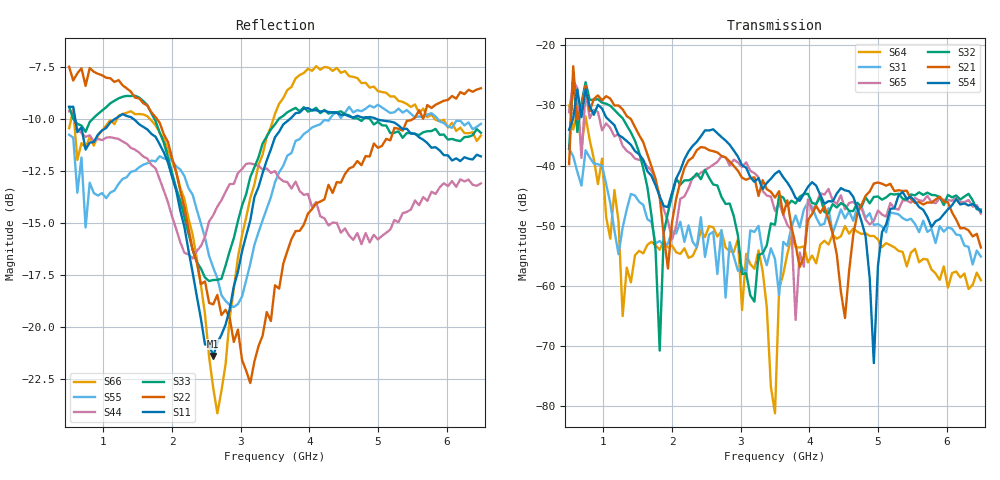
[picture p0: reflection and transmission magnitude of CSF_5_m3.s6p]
!Keysight Technologies,M9804A,MY58100912,A.14.10.03
!Date: Thursday, April 27, 2023 10:28:33
!Correction: S11(C  6-Port  )
!S12(C  6-Port  )
!S13(C  6-Port  )
!S14(C  6-Port  )
!S15(C  6-Port  )
!S16(C  6-Port  )
!S21(C  6-Port  )
!S22(C  6-Port  )
!S23(C  6-Port  )
!S24(C  6-Port  )
!S25(C  6-Port  )
!S26(C  6-Port  )
!S31(C  6-Port  )
!S32(C  6-Port  )
!S33(C  6-Port  )
!S34(C  6-Port  )
!S35(C  6-Port  )
!S36(C  6-Port  )
!S41(C  6-Port  )
!S42(C  6-Port  )
!S43(C  6-Port  )
!S44(C  6-Port  )
!S45(C  6-Port  )
!S46(C  6-Port  )
!S51(C  6-Port  )
!S52(C  6-Port  )
!S53(C  6-Port  )
!S54(C  6-Port  )
!S55(C  6-Port  )
!S56(C  6-Port  )
!S61(C  6-Port  )
!S62(C  6-Port  )
!S63(C  6-Port  )
!S64(C  6-Port  )
!S65(C  6-Port  )
!S66(C  6-Port  )
!S6P File: Measurement: :
# Hz S  RI  R 50
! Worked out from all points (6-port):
!   101 points, 500 MHz to 6.5 GHz, reference 50 ohm
!   strongest paths, dB at 500 MHz, 2 GHz, 3.5 GHz, 5 GHz, 6.5 GHz:
!     S54: -34.0, -44.5, -41.4, -56.7, -47.7
!     S21: -39.7, -49.3, -45.3, -42.8, -53.6
!     S32: -37.2, -45.0, -49.8, -45.1, -47.3
!     S65: -31.1, -52.3, -47.5, -47.5, -48.0
!     S31: -37.2, -50.8, -55.5, -49.7, -55.1
!     S64: -30.0, -53.3, -81.2, -52.3, -59.0
!   lowest |S11| = -21.4 dB at 2.6 GHz (marker M1), VSWR 1.19, Z = 42.4 + j2.21 ohm
!   |S11| at or under -10 dB: 589.2 MHz to 1.166 GHz (576.7 MHz wide, 65.7 % of centre); 1.438 GHz to 3.716 GHz (2.277 GHz wide, 88.4 % of centre); 4.98 GHz to end of sweep
